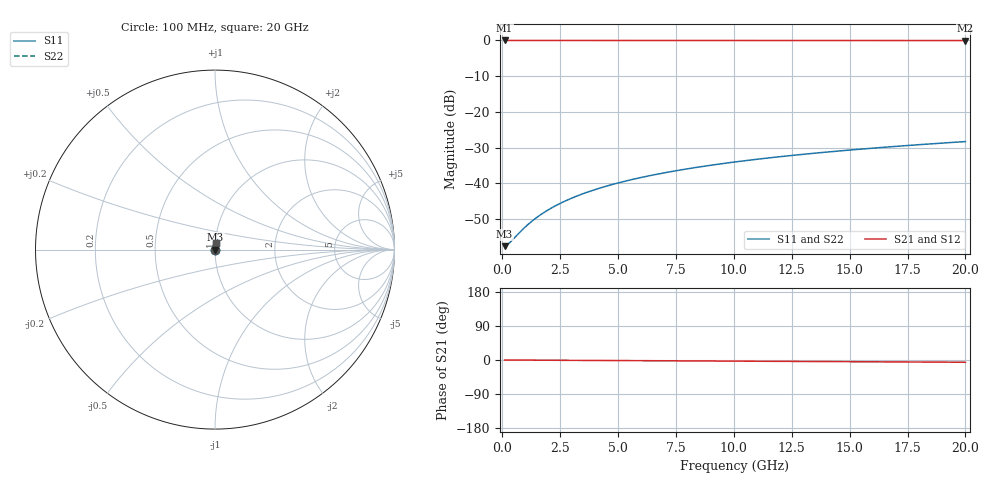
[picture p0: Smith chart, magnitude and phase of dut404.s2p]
! Touchstone file exported from HFSS 2026.1.0
!  File:  C:/ffzhzh/LocalFiles/Ansys_Project_Files/temp_train_TSV_404_1783089917_50312.aedt
!  Generated:  10:48:12 PM Jul  3, 2026
!  Design:  TSV
!  Project:  temp_train_TSV_404_1783089917_50312
! Variables:
!  h_bsmrdl = 2um
!  h_ox = 20um
!  h_rdl = 5um
!  h_sub = 57.71um
!  h_tmrdl = 5um
!  h_tsv = 57.71um
!  h_via = 3um
!  l_bsmrdl = 300um
!  l_sub = 404.54um
!  l_tmrdl = 200um
!  m_sub = 200um
!  pitch = 16.38um
!  r_tsv = 2.27um
!  s_tmrdl = 10um
!  w_bsmrdl = 18um
!  w_sub = 500um
!  w_tmrdl = 12um
!  x_tsv_center1 = 206um
!  x_tsv_center2 = 524um
!  x_tsv_center3 = 736um
!  x_tsv_center4 = 1054um
!  x_tsv_center5 = 1266um
!  x_tsv_center6 = 1584um
# GHz S MA R 50.000000
! Terminal data exported
! Port[1] = TSV1_1_T1
! Port[2] = TSV1_1_T2
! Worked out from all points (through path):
!   200 points, 100 MHz to 20 GHz, reference 50 ohm
!   highest |S21| = -0.01 dB at 100 MHz (marker M1); lowest = 0.0 dB at 20 GHz (marker M2)
!   lowest |S11| = -57.5 dB at 100 MHz (marker M3), VSWR 1.00, Z = 50.1 + j0.0214 ohm
!   |S11| at or under -10 dB: start of sweep to end of sweep
!   |S22| runs from -57.5 to -28.3 dB; largest |S21 - S12| = 4.8e-15
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0.1  0.001328 9.2  0.9987 -0.0  0.9987 -0.0  0.001328 9.2
! Gamma 0 0 0 0
! Port Impedance 50 0 50 0
0.2  0.001383 17.9  0.9987 -0.1  0.9987 -0.1  0.001383 17.9
0.3  0.001469 25.6  0.9987 -0.1  0.9987 -0.1  0.001469 25.6
0.8  0.00215 50.3  0.9986 -0.2  0.9986 -0.2  0.00215 50.3
1.1  0.002653 58.2  0.9986 -0.3  0.9986 -0.3  0.002653 58.2
1.4  0.003187 63.5  0.9986 -0.4  0.9986 -0.4  0.003187 63.5
1.7  0.00374 67.2  0.9986 -0.5  0.9986 -0.5  0.00374 67.2
2.1  0.004497 70.8  0.9986 -0.6  0.9986 -0.6  0.004497 70.8
2.5  0.005266 73.2  0.9985 -0.8  0.9985 -0.8  0.005266 73.2
3  0.006239 75.4  0.9985 -0.9  0.9985 -0.9  0.006239 75.4
3.5  0.007218 76.9  0.9985 -1.1  0.9985 -1.1  0.007218 76.9
4.2  0.008595 78.3  0.9984 -1.3  0.9984 -1.3  0.008595 78.3
5  0.01017 79.3  0.9983 -1.5  0.9983 -1.5  0.01017 79.3
5.9  0.01194 80.0  0.9982 -1.8  0.9982 -1.8  0.01194 80.0
6.8  0.0137 80.5  0.9981 -2.0  0.9981 -2.0  0.0137 80.5
8.3  0.01662 80.8  0.9979 -2.5  0.9979 -2.5  0.01662 80.8
10.1  0.02008 80.8  0.9977 -3.0  0.9977 -3.0  0.02008 80.8
11.7  0.02313 80.7  0.9974 -3.5  0.9974 -3.5  0.02313 80.7
13.4  0.02633 80.5  0.9971 -4.0  0.9971 -4.0  0.02633 80.5
15  0.02932 80.2  0.9969 -4.5  0.9969 -4.5  0.02932 80.2
16.7  0.03247 79.9  0.9966 -5.0  0.9966 -5.0  0.03247 79.9
20  0.03852 79.3  0.996 -5.9  0.996 -5.9  0.03852 79.3
